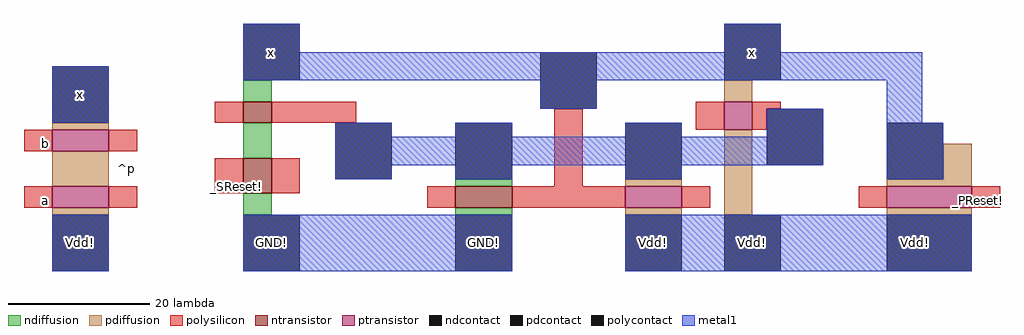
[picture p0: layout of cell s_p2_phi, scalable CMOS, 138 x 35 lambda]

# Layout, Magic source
magic
tech scmos
<< ndiffusion >>
rect -45 75 -41 78
rect -45 67 -41 72
rect -15 63 -7 64
rect -45 59 -41 62
rect -15 59 -7 60
<< pdiffusion >>
rect 23 75 27 78
rect -72 71 -64 72
rect -72 63 -64 68
rect 9 63 17 64
rect -72 59 -64 60
rect 9 59 17 60
rect 23 59 27 71
rect 54 64 58 69
rect 46 63 58 64
rect 46 59 58 60
<< ntransistor >>
rect -45 72 -41 75
rect -45 62 -41 67
rect -15 60 -7 63
<< ptransistor >>
rect -72 68 -64 71
rect -72 60 -64 63
rect 23 71 27 75
rect 9 60 17 63
rect 46 60 58 63
<< polysilicon >>
rect -49 72 -45 75
rect -41 72 -29 75
rect -76 68 -72 71
rect -64 68 -60 71
rect -76 60 -72 63
rect -64 60 -60 63
rect -49 62 -45 67
rect -41 62 -37 67
rect -1 63 3 74
rect 19 71 23 75
rect 27 74 31 75
rect 27 71 29 74
rect -19 60 -15 63
rect -7 60 9 63
rect 17 60 21 63
rect 42 60 46 63
rect 58 60 62 63
<< ndcontact >>
rect -45 78 -37 86
rect -15 64 -7 72
rect -45 51 -37 59
rect -15 51 -7 59
<< pdcontact >>
rect -72 72 -64 80
rect 23 78 31 86
rect 9 64 17 72
rect -72 51 -64 59
rect 9 51 17 59
rect 46 64 54 72
rect 23 51 31 59
rect 46 51 58 59
<< polycontact >>
rect -3 74 5 82
rect -32 64 -24 72
rect 29 66 37 74
<< metal1 >>
rect -45 82 -37 86
rect 23 82 31 86
rect -72 72 -64 80
rect -45 78 51 82
rect -3 74 5 78
rect -32 70 -24 72
rect -15 70 -7 72
rect 9 70 17 72
rect 29 70 37 74
rect -32 66 37 70
rect 46 72 51 78
rect -32 64 -24 66
rect -15 64 -7 66
rect 9 64 17 66
rect 46 64 54 72
rect -72 51 -64 59
rect -45 51 -7 59
rect 9 51 58 59
<< labels >>
rlabel polysilicon -73 61 -73 61 3 a
rlabel metal1 -68 55 -68 55 1 Vdd!
rlabel metal1 -68 76 -68 76 1 x
rlabel polysilicon -73 69 -73 69 3 b
rlabel space -64 51 -59 80 3 ^p
rlabel ndcontact -11 55 -11 55 1 GND!
rlabel pdcontact 13 55 13 55 1 Vdd!
rlabel polysilicon -46 63 -46 63 1 _SReset!
rlabel metal1 -41 82 -41 82 1 x
rlabel metal1 27 55 27 55 1 Vdd!
rlabel metal1 27 82 27 82 1 x
rlabel metal1 50 55 50 55 8 Vdd!
rlabel polysilicon 59 61 59 61 7 _PReset!
rlabel metal1 -41 55 -41 55 1 GND!
<< end >>
